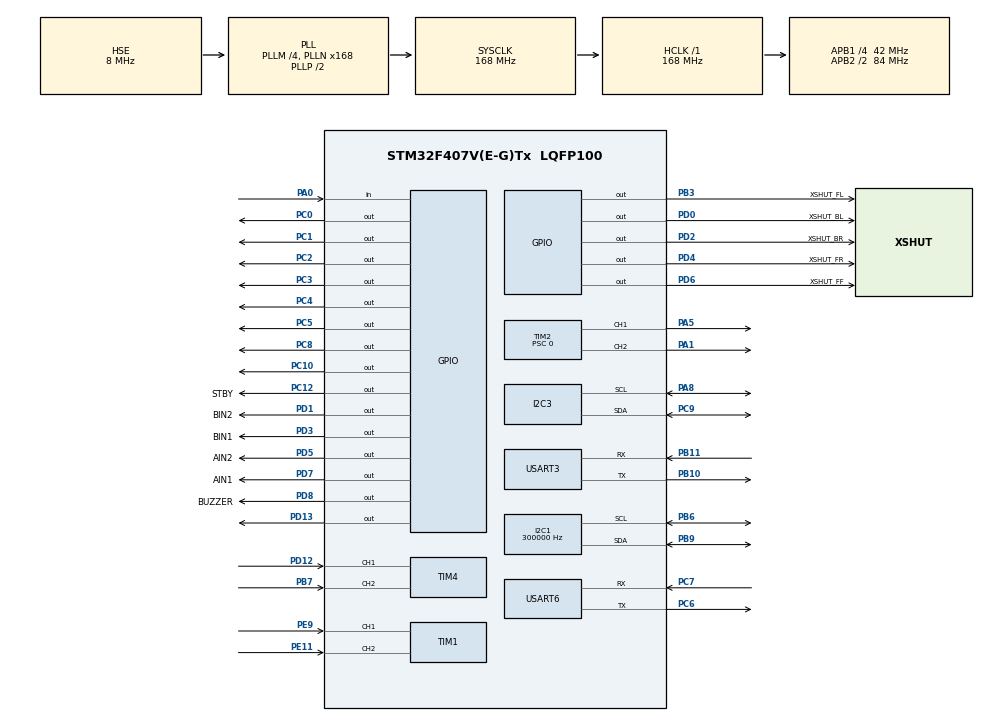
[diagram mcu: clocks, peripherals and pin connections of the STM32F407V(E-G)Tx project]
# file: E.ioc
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Dma.Request0=USART3_RX
Dma.USART3_RX.0.Direction=DMA_PERIPH_TO_MEMORY
Dma.USART3_RX.0.FIFOMode=DMA_FIFOMODE_DISABLE
Dma.USART3_RX.0.Instance=DMA1_Stream1
Dma.USART3_RX.0.MemDataAlignment=DMA_MDATAALIGN_BYTE
Dma.USART3_RX.0.MemInc=DMA_MINC_ENABLE
Dma.USART3_RX.0.Mode=DMA_NORMAL
Dma.USART3_RX.0.PeriphDataAlignment=DMA_PDATAALIGN_BYTE
Dma.USART3_RX.0.PeriphInc=DMA_PINC_DISABLE
Dma.USART3_RX.0.Priority=DMA_PRIORITY_LOW
I2C1.ClockSpeed=300000
I2C1.I2C_Mode=I2C_Fast
Mcu.Family=STM32F4
Mcu.Name=STM32F407V(E-G)Tx
Mcu.Package=LQFP100
NVIC.DMA1_Stream1_IRQn=true\:0\:0\:false\:false\:true\:false\:true\:true
NVIC.PriorityGroup=NVIC_PRIORITYGROUP_4
PA0-WKUP.GPIO_PuPd=GPIO_PULLDOWN
PA0-WKUP.Signal=GPIO_Input
PA1.Signal=S_TIM2_CH2
PA13.Mode=Serial_Wire
PA13.Signal=SYS_JTMS-SWDIO
PA14.Mode=Serial_Wire
PA14.Signal=SYS_JTCK-SWCLK
PA5.Signal=S_TIM2_CH1_ETR
PA8.Mode=I2C
PA8.Signal=I2C3_SCL
PB10.Mode=Asynchronous
PB10.Signal=USART3_TX
PB11.Mode=Asynchronous
PB11.Signal=USART3_RX
PB3.GPIO_Label=XSHUT_FL
PB3.Signal=GPIO_Output
PB6.Mode=I2C
PB6.Signal=I2C1_SCL
PB7.Signal=S_TIM4_CH2
PB9.Mode=I2C
PB9.Signal=I2C1_SDA
PC0.Signal=GPIO_Output
PC1.Signal=GPIO_Output
PC10.Signal=GPIO_Output
PC12.GPIO_Label=STBY
PC12.Signal=GPIO_Output
PC14-OSC32_IN.Mode=LSE-External-Oscillator
PC14-OSC32_IN.Signal=RCC_OSC32_IN
PC15-OSC32_OUT.Mode=LSE-External-Oscillator
PC15-OSC32_OUT.Signal=RCC_OSC32_OUT
PC2.Signal=GPIO_Output
PC3.Signal=GPIO_Output
PC4.Signal=GPIO_Output
PC5.Signal=GPIO_Output
PC6.Mode=Asynchronous
PC6.Signal=USART6_TX
PC7.Mode=Asynchronous
PC7.Signal=USART6_RX
PC8.Signal=GPIO_Output
PC9.Mode=I2C
PC9.Signal=I2C3_SDA
PD0.GPIO_Label=XSHUT_BL
PD0.Signal=GPIO_Output
PD1.GPIO_Label=BIN2
PD1.Signal=GPIO_Output
PD12.Signal=S_TIM4_CH1
PD13.Signal=GPIO_Output
PD2.GPIO_Label=XSHUT_BR
PD2.Signal=GPIO_Output
PD3.GPIO_Label=BIN1
PD3.Signal=GPIO_Output
PD4.GPIO_Label=XSHUT_FR
PD4.Signal=GPIO_Output
PD5.GPIO_Label=AIN2
PD5.Signal=GPIO_Output
PD6.GPIO_Label=XSHUT_FF
PD6.Signal=GPIO_Output
PD7.GPIO_Label=AIN1
PD7.Signal=GPIO_Output
PD8.GPIO_Label=BUZZER
PD8.GPIO_ModeDefaultOutputPP=GPIO_MODE_OUTPUT_OD
PD8.GPIO_PuPd=GPIO_NOPULL
PD8.Signal=GPIO_Output
PE11.Signal=S_TIM1_CH2
PE9.Signal=S_TIM1_CH1
PH0-OSC_IN.Mode=HSE-External-Oscillator
PH0-OSC_IN.Signal=RCC_OSC_IN
PH1-OSC_OUT.Mode=HSE-External-Oscillator
PH1-OSC_OUT.Signal=RCC_OSC_OUT
ProjectManager.HeapSize=0x200
ProjectManager.StackSize=0x400
ProjectManager.TargetToolchain=MDK-ARM V5
RCC.48MHZClocksFreq_Value=84000000
RCC.AHBFreq_Value=168000000
RCC.APB1CLKDivider=RCC_HCLK_DIV4
RCC.APB1Freq_Value=42000000
RCC.APB1TimFreq_Value=84000000
RCC.APB2CLKDivider=RCC_HCLK_DIV2
RCC.APB2Freq_Value=84000000
RCC.APB2TimFreq_Value=168000000
RCC.CortexFreq_Value=168000000
RCC.HCLKFreq_Value=168000000
RCC.HSE_VALUE=8000000
RCC.HSI_VALUE=16000000
RCC.PLLM=4
RCC.PLLN=168
RCC.PLLSourceVirtual=RCC_PLLSOURCE_HSE
RCC.SYSCLKFreq_VALUE=168000000
RCC.SYSCLKSource=RCC_SYSCLKSOURCE_PLLCLK
RCC.VCOOutputFreq_Value=336000000
SH.S_TIM1_CH1.0=TIM1_CH1,Encoder_Interface
SH.S_TIM1_CH2.0=TIM1_CH2,Encoder_Interface
SH.S_TIM2_CH1_ETR.0=TIM2_CH1,PWM Generation1 CH1
SH.S_TIM2_CH2.0=TIM2_CH2,PWM Generation2 CH2
SH.S_TIM4_CH1.0=TIM4_CH1,Encoder_Interface
SH.S_TIM4_CH2.0=TIM4_CH2,Encoder_Interface
TIM1.EncoderMode=TIM_ENCODERMODE_TI12
TIM1.IC1Polarity=TIM_ICPOLARITY_FALLING
TIM1.IC2Polarity=TIM_ICPOLARITY_RISING
TIM2.AutoReloadPreload=TIM_AUTORELOAD_PRELOAD_ENABLE
TIM2.Channel-PWM\ Generation1\ CH1=TIM_CHANNEL_1
TIM2.Channel-PWM\ Generation2\ CH2=TIM_CHANNEL_2
TIM2.Period=9
TIM2.Prescaler=0
TIM4.EncoderMode=TIM_ENCODERMODE_TI12
USART3.VirtualMode=VM_ASYNC
USART6.VirtualMode=VM_ASYNC
VP_TIM2_VS_ClockSourceINT.Mode=Internal
board=custom

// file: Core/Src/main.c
/* USER CODE BEGIN Header */
/**
 ******************************************************************************
 * @file           : main.c
 * @brief          : Main program body
 ******************************************************************************
 * @attention
 *
 * Copyright (c) 2023 STMicroelectronics.
 * All rights reserved.
 *
 * This software is licensed under terms that can be found in the LICENSE file
 * in the root directory of this software component.
 * If no LICENSE file comes with this software, it is provided AS-IS.
 *
 ******************************************************************************
 */
/* USER CODE END Header */
#include "main.h"

/* USER CODE BEGIN Includes */
#include "AML_MPUSensor.h"
#include "AML_LaserSensor.h"
#include "AML_Keyboard.h"
#include "AML_Encoder.h"
#include "AML_MotorControl.h"

/* USER CODE END Includes */

I2C_HandleTypeDef hi2c1;
I2C_HandleTypeDef hi2c3;

TIM_HandleTypeDef htim1;
TIM_HandleTypeDef htim2;
TIM_HandleTypeDef htim4;

UART_HandleTypeDef huart3;
UART_HandleTypeDef huart6;
DMA_HandleTypeDef hdma_usart3_rx;

/* USER CODE BEGIN PV */

// uint8_t data[33];
// uint8_t buffer = 100;
int16_t debug[100];
uint8_t checkWorking[] = {0xFF, 0xAA, 0x52};

double testAngle;
int32_t LeftEncoderValue, RightEncoderValue;

/* USER CODE END PV */

void SystemClock_Config(void);
static void MX_GPIO_Init(void);
static void MX_DMA_Init(void);
static void MX_I2C1_Init(void);
static void MX_USART3_UART_Init(void);
static void MX_TIM1_Init(void);
static void MX_TIM2_Init(void);
static void MX_TIM4_Init(void);
static void MX_USART6_UART_Init(void);
static void MX_I2C3_Init(void);

int main(void)
{

  /* MCU Configuration--------------------------------------------------------*/

  /* Reset of all peripherals, Initializes the Flash interface and the Systick. */
  HAL_Init();

  /* Configure the system clock */
  SystemClock_Config();

  /* Initialize all configured peripherals */
  MX_GPIO_Init();
  MX_DMA_Init();
  MX_I2C1_Init();
  MX_USART3_UART_Init();
  MX_TIM1_Init();
  MX_TIM2_Init();
  MX_TIM4_Init();
  MX_USART6_UART_Init();
  MX_I2C3_Init();
  /* USER CODE BEGIN 2 */

  AML_MPUSensor_Setup();
  AML_Keyboard_Setup();
  AML_LaserSensor_Setup();
  AML_Encoder_Setup();
  AML_MotorControl_Setup();

  // AML_Keyboard_WaitStartKey();

  // AML_LaserSensor_ScanI2CDevice(&hi2c1);

  HAL_GPIO_WritePin(GPIOC, GPIO_PIN_0, GPIO_PIN_SET);
  for (int i = 0; i < 100; i++)
  {
    debug[i] = i;
  }
  /* USER CODE END 2 */

  /* Infinite loop */
  /* USER CODE BEGIN WHILE */
  while (1)
  {

    // AML_MPUSensor_ResetAngle();
    AML_LaserSensor_ReadAll();
    // AML_LaserSensor_ReadSingle(FL);
    HAL_GPIO_WritePin(BUZZER_GPIO_Port, BUZZER_Pin, GPIO_PIN_SET);
    HAL_Delay(100);
    HAL_GPIO_WritePin(BUZZER_GPIO_Port, BUZZER_Pin, GPIO_PIN_RESET);
    HAL_Delay(100);
    LeftEncoderValue = AML_Encoder_GetLeftValue();
    RightEncoderValue = AML_Encoder_GetRightValue();

    // AML_MotorControl_SetLeftSpeed(10);
    // AML_MotorControl_SetRightSpeed(10);

    testAngle = AML_MPUSensor_GetAngle();

    // HAL_Delay(500);

    // AML_MotorControl_LeftPWM(10);
    AML_MotorControl_SetLeftSpeed(20, FW);
    AML_MotorControl_SetRightSpeed(30, BW);

    // debug[7] = AML_Keyboard_GetKey();
    if (debug[7])
    {
      // debug[5] = AML_MPUSensor_ResetAngle();

      // AML_MotorControl_MoveLeft(20000, FW);
      // AML_MotorControl_SetLeftSpeed(20, FW);
    }
    else
    {
      // AML_MotorControl_SetLeftSpeed(0, FW);
    }

    /* USER CODE END WHILE */

  }
}

void SystemClock_Config(void)
{
  RCC_OscInitTypeDef RCC_OscInitStruct = {0};
  RCC_ClkInitTypeDef RCC_ClkInitStruct = {0};

  /** Configure the main internal regulator output voltage
   */
  __HAL_RCC_PWR_CLK_ENABLE();
  __HAL_PWR_VOLTAGESCALING_CONFIG(PWR_REGULATOR_VOLTAGE_SCALE1);

  /** Initializes the RCC Oscillators according to the specified parameters
   * in the RCC_OscInitTypeDef structure.
   */
  RCC_OscInitStruct.OscillatorType = RCC_OSCILLATORTYPE_HSE;
  RCC_OscInitStruct.HSEState = RCC_HSE_ON;
  RCC_OscInitStruct.PLL.PLLState = RCC_PLL_ON;
  RCC_OscInitStruct.PLL.PLLSource = RCC_PLLSOURCE_HSE;
  RCC_OscInitStruct.PLL.PLLM = 4;
  RCC_OscInitStruct.PLL.PLLN = 168;
  RCC_OscInitStruct.PLL.PLLP = RCC_PLLP_DIV2;
  RCC_OscInitStruct.PLL.PLLQ = 4;
  if (HAL_RCC_OscConfig(&RCC_OscInitStruct) != HAL_OK)
  {
    Error_Handler();
  }

  /** Initializes the CPU, AHB and APB buses clocks
   */
  RCC_ClkInitStruct.ClockType = RCC_CLOCKTYPE_HCLK | RCC_CLOCKTYPE_SYSCLK | RCC_CLOCKTYPE_PCLK1 | RCC_CLOCKTYPE_PCLK2;
  RCC_ClkInitStruct.SYSCLKSource = RCC_SYSCLKSOURCE_PLLCLK;
  RCC_ClkInitStruct.AHBCLKDivider = RCC_SYSCLK_DIV1;
  RCC_ClkInitStruct.APB1CLKDivider = RCC_HCLK_DIV4;
  RCC_ClkInitStruct.APB2CLKDivider = RCC_HCLK_DIV2;

  if (HAL_RCC_ClockConfig(&RCC_ClkInitStruct, FLASH_LATENCY_5) != HAL_OK)
  {
    Error_Handler();
  }
}

static void MX_I2C1_Init(void)
{

  hi2c1.Instance = I2C1;
  hi2c1.Init.ClockSpeed = 400000;
  hi2c1.Init.DutyCycle = I2C_DUTYCYCLE_2;
  hi2c1.Init.OwnAddress1 = 0;
  hi2c1.Init.AddressingMode = I2C_ADDRESSINGMODE_7BIT;
  hi2c1.Init.DualAddressMode = I2C_DUALADDRESS_DISABLE;
  hi2c1.Init.OwnAddress2 = 0;
  hi2c1.Init.GeneralCallMode = I2C_GENERALCALL_DISABLE;
  hi2c1.Init.NoStretchMode = I2C_NOSTRETCH_DISABLE;
  if (HAL_I2C_Init(&hi2c1) != HAL_OK)
  {
    Error_Handler();
  }
}

static void MX_I2C3_Init(void)
{

  hi2c3.Instance = I2C3;
  hi2c3.Init.ClockSpeed = 100000;
  hi2c3.Init.DutyCycle = I2C_DUTYCYCLE_2;
  hi2c3.Init.OwnAddress1 = 0;
  hi2c3.Init.AddressingMode = I2C_ADDRESSINGMODE_7BIT;
  hi2c3.Init.DualAddressMode = I2C_DUALADDRESS_DISABLE;
  hi2c3.Init.OwnAddress2 = 0;
  hi2c3.Init.GeneralCallMode = I2C_GENERALCALL_DISABLE;
  hi2c3.Init.NoStretchMode = I2C_NOSTRETCH_DISABLE;
  if (HAL_I2C_Init(&hi2c3) != HAL_OK)
  {
    Error_Handler();
  }
}

static void MX_TIM1_Init(void)
{

  TIM_Encoder_InitTypeDef sConfig = {0};
  TIM_MasterConfigTypeDef sMasterConfig = {0};

  htim1.Instance = TIM1;
  htim1.Init.Prescaler = 0;
  htim1.Init.CounterMode = TIM_COUNTERMODE_UP;
  htim1.Init.Period = 65535;
  htim1.Init.ClockDivision = TIM_CLOCKDIVISION_DIV1;
  htim1.Init.RepetitionCounter = 0;
  htim1.Init.AutoReloadPreload = TIM_AUTORELOAD_PRELOAD_DISABLE;
  sConfig.EncoderMode = TIM_ENCODERMODE_TI12;
  sConfig.IC1Polarity = TIM_ICPOLARITY_FALLING;
  sConfig.IC1Selection = TIM_ICSELECTION_DIRECTTI;
  sConfig.IC1Prescaler = TIM_ICPSC_DIV1;
  sConfig.IC1Filter = 0;
  sConfig.IC2Polarity = TIM_ICPOLARITY_RISING;
  sConfig.IC2Selection = TIM_ICSELECTION_DIRECTTI;
  sConfig.IC2Prescaler = TIM_ICPSC_DIV1;
  sConfig.IC2Filter = 0;
  if (HAL_TIM_Encoder_Init(&htim1, &sConfig) != HAL_OK)
  {
    Error_Handler();
  }
  sMasterConfig.MasterOutputTrigger = TIM_TRGO_RESET;
  sMasterConfig.MasterSlaveMode = TIM_MASTERSLAVEMODE_DISABLE;
  if (HAL_TIMEx_MasterConfigSynchronization(&htim1, &sMasterConfig) != HAL_OK)
  {
    Error_Handler();
  }
}

static void MX_TIM2_Init(void)
{

  TIM_ClockConfigTypeDef sClockSourceConfig = {0};
  TIM_MasterConfigTypeDef sMasterConfig = {0};
  TIM_OC_InitTypeDef sConfigOC = {0};

  htim2.Instance = TIM2;
  htim2.Init.Prescaler = 0;
  htim2.Init.CounterMode = TIM_COUNTERMODE_UP;
  htim2.Init.Period = 9;
  htim2.Init.ClockDivision = TIM_CLOCKDIVISION_DIV1;
  htim2.Init.AutoReloadPreload = TIM_AUTORELOAD_PRELOAD_ENABLE;
  if (HAL_TIM_Base_Init(&htim2) != HAL_OK)
  {
    Error_Handler();
  }
  sClockSourceConfig.ClockSource = TIM_CLOCKSOURCE_INTERNAL;
  if (HAL_TIM_ConfigClockSource(&htim2, &sClockSourceConfig) != HAL_OK)
  {
    Error_Handler();
  }
  if (HAL_TIM_PWM_Init(&htim2) != HAL_OK)
  {
    Error_Handler();
  }
  sMasterConfig.MasterOutputTrigger = TIM_TRGO_RESET;
  sMasterConfig.MasterSlaveMode = TIM_MASTERSLAVEMODE_DISABLE;
  if (HAL_TIMEx_MasterConfigSynchronization(&htim2, &sMasterConfig) != HAL_OK)
  {
    Error_Handler();
  }
  sConfigOC.OCMode = TIM_OCMODE_PWM1;
  sConfigOC.Pulse = 0;
  sConfigOC.OCPolarity = TIM_OCPOLARITY_HIGH;
  sConfigOC.OCFastMode = TIM_OCFAST_DISABLE;
  if (HAL_TIM_PWM_ConfigChannel(&htim2, &sConfigOC, TIM_CHANNEL_1) != HAL_OK)
  {
    Error_Handler();
  }
  if (HAL_TIM_PWM_ConfigChannel(&htim2, &sConfigOC, TIM_CHANNEL_2) != HAL_OK)
  {
    Error_Handler();
  }
  HAL_TIM_MspPostInit(&htim2);
}

static void MX_TIM4_Init(void)
{

  TIM_Encoder_InitTypeDef sConfig = {0};
  TIM_MasterConfigTypeDef sMasterConfig = {0};

  htim4.Instance = TIM4;
  htim4.Init.Prescaler = 0;
  htim4.Init.CounterMode = TIM_COUNTERMODE_UP;
  htim4.Init.Period = 65535;
  htim4.Init.ClockDivision = TIM_CLOCKDIVISION_DIV1;
  htim4.Init.AutoReloadPreload = TIM_AUTORELOAD_PRELOAD_DISABLE;
  sConfig.EncoderMode = TIM_ENCODERMODE_TI12;
  sConfig.IC1Polarity = TIM_ICPOLARITY_RISING;
  sConfig.IC1Selection = TIM_ICSELECTION_DIRECTTI;
  sConfig.IC1Prescaler = TIM_ICPSC_DIV1;
  sConfig.IC1Filter = 0;
  sConfig.IC2Polarity = TIM_ICPOLARITY_RISING;
  sConfig.IC2Selection = TIM_ICSELECTION_DIRECTTI;
  sConfig.IC2Prescaler = TIM_ICPSC_DIV1;
  sConfig.IC2Filter = 0;
  if (HAL_TIM_Encoder_Init(&htim4, &sConfig) != HAL_OK)
  {
    Error_Handler();
  }
  sMasterConfig.MasterOutputTrigger = TIM_TRGO_RESET;
  sMasterConfig.MasterSlaveMode = TIM_MASTERSLAVEMODE_DISABLE;
  if (HAL_TIMEx_MasterConfigSynchronization(&htim4, &sMasterConfig) != HAL_OK)
  {
    Error_Handler();
  }
}

static void MX_USART3_UART_Init(void)
{

  huart3.Instance = USART3;
  huart3.Init.BaudRate = 115200;
  huart3.Init.WordLength = UART_WORDLENGTH_8B;
  huart3.Init.StopBits = UART_STOPBITS_1;
  huart3.Init.Parity = UART_PARITY_NONE;
  huart3.Init.Mode = UART_MODE_TX_RX;
  huart3.Init.HwFlowCtl = UART_HWCONTROL_NONE;
  huart3.Init.OverSampling = UART_OVERSAMPLING_16;
  if (HAL_UART_Init(&huart3) != HAL_OK)
  {
    Error_Handler();
  }
}

static void MX_USART6_UART_Init(void)
{

  huart6.Instance = USART6;
  huart6.Init.BaudRate = 115200;
  huart6.Init.WordLength = UART_WORDLENGTH_8B;
  huart6.Init.StopBits = UART_STOPBITS_1;
  huart6.Init.Parity = UART_PARITY_NONE;
  huart6.Init.Mode = UART_MODE_TX_RX;
  huart6.Init.HwFlowCtl = UART_HWCONTROL_NONE;
  huart6.Init.OverSampling = UART_OVERSAMPLING_16;
  if (HAL_UART_Init(&huart6) != HAL_OK)
  {
    Error_Handler();
  }
}

static void MX_DMA_Init(void)
{

  /* DMA controller clock enable */
  __HAL_RCC_DMA1_CLK_ENABLE();

  /* DMA interrupt init */
  /* DMA1_Stream1_IRQn interrupt configuration */
  HAL_NVIC_SetPriority(DMA1_Stream1_IRQn, 0, 0);
  HAL_NVIC_EnableIRQ(DMA1_Stream1_IRQn);
}

static void MX_GPIO_Init(void)
{
  GPIO_InitTypeDef GPIO_InitStruct = {0};

  /* GPIO Ports Clock Enable */
  __HAL_RCC_GPIOC_CLK_ENABLE();
  __HAL_RCC_GPIOH_CLK_ENABLE();
  __HAL_RCC_GPIOA_CLK_ENABLE();
  __HAL_RCC_GPIOE_CLK_ENABLE();
  __HAL_RCC_GPIOB_CLK_ENABLE();
  __HAL_RCC_GPIOD_CLK_ENABLE();

  /*Configure GPIO pin Output Level */
  HAL_GPIO_WritePin(GPIOC, GPIO_PIN_0 | GPIO_PIN_1 | GPIO_PIN_2 | GPIO_PIN_3 | GPIO_PIN_4 | GPIO_PIN_5 | GPIO_PIN_8 | GPIO_PIN_10 | STBY_Pin, GPIO_PIN_RESET);

  /*Configure GPIO pin Output Level */
  HAL_GPIO_WritePin(GPIOD, BUZZER_Pin | GPIO_PIN_13 | XSHUT_BL_Pin | BIN2_Pin | XSHUT_BR_Pin | BIN1_Pin | XSHUT_FR_Pin | AIN2_Pin | XSHUT_FF_Pin | AIN1_Pin, GPIO_PIN_RESET);

  /*Configure GPIO pin Output Level */
  HAL_GPIO_WritePin(XSHUT_FL_GPIO_Port, XSHUT_FL_Pin, GPIO_PIN_RESET);

  /*Configure GPIO pins : PC0 PC1 PC2 PC3
                           PC4 PC5 PC8 PC10
                           STBY_Pin */
  GPIO_InitStruct.Pin = GPIO_PIN_0 | GPIO_PIN_1 | GPIO_PIN_2 | GPIO_PIN_3 | GPIO_PIN_4 | GPIO_PIN_5 | GPIO_PIN_8 | GPIO_PIN_10 | STBY_Pin;
  GPIO_InitStruct.Mode = GPIO_MODE_OUTPUT_PP;
  GPIO_InitStruct.Pull = GPIO_NOPULL;
  GPIO_InitStruct.Speed = GPIO_SPEED_FREQ_LOW;
  HAL_GPIO_Init(GPIOC, &GPIO_InitStruct);

  /*Configure GPIO pin : PA0 */
  GPIO_InitStruct.Pin = GPIO_PIN_0;
  GPIO_InitStruct.Mode = GPIO_MODE_INPUT;
  GPIO_InitStruct.Pull = GPIO_PULLDOWN;
  HAL_GPIO_Init(GPIOA, &GPIO_InitStruct);

  /*Configure GPIO pin : BUZZER_Pin */
  GPIO_InitStruct.Pin = BUZZER_Pin;
  GPIO_InitStruct.Mode = GPIO_MODE_OUTPUT_OD;
  GPIO_InitStruct.Pull = GPIO_NOPULL;
  GPIO_InitStruct.Speed = GPIO_SPEED_FREQ_LOW;
  HAL_GPIO_Init(BUZZER_GPIO_Port, &GPIO_InitStruct);

  /*Configure GPIO pins : PD13 XSHUT_BL_Pin BIN2_Pin XSHUT_BR_Pin
                           BIN1_Pin XSHUT_FR_Pin AIN2_Pin XSHUT_FF_Pin
                           AIN1_Pin */
  GPIO_InitStruct.Pin = GPIO_PIN_13 | XSHUT_BL_Pin | BIN2_Pin | XSHUT_BR_Pin | BIN1_Pin | XSHUT_FR_Pin | AIN2_Pin | XSHUT_FF_Pin | AIN1_Pin;
  GPIO_InitStruct.Mode = GPIO_MODE_OUTPUT_PP;
  GPIO_InitStruct.Pull = GPIO_NOPULL;
  GPIO_InitStruct.Speed = GPIO_SPEED_FREQ_LOW;
  HAL_GPIO_Init(GPIOD, &GPIO_InitStruct);

  /*Configure GPIO pin : XSHUT_FL_Pin */
  GPIO_InitStruct.Pin = XSHUT_FL_Pin;
  GPIO_InitStruct.Mode = GPIO_MODE_OUTPUT_PP;
  GPIO_InitStruct.Pull = GPIO_NOPULL;
  GPIO_InitStruct.Speed = GPIO_SPEED_FREQ_LOW;
  HAL_GPIO_Init(XSHUT_FL_GPIO_Port, &GPIO_InitStruct);

}

void Error_Handler(void)
{
  __disable_irq();
  while (1)
  {
  }
}
